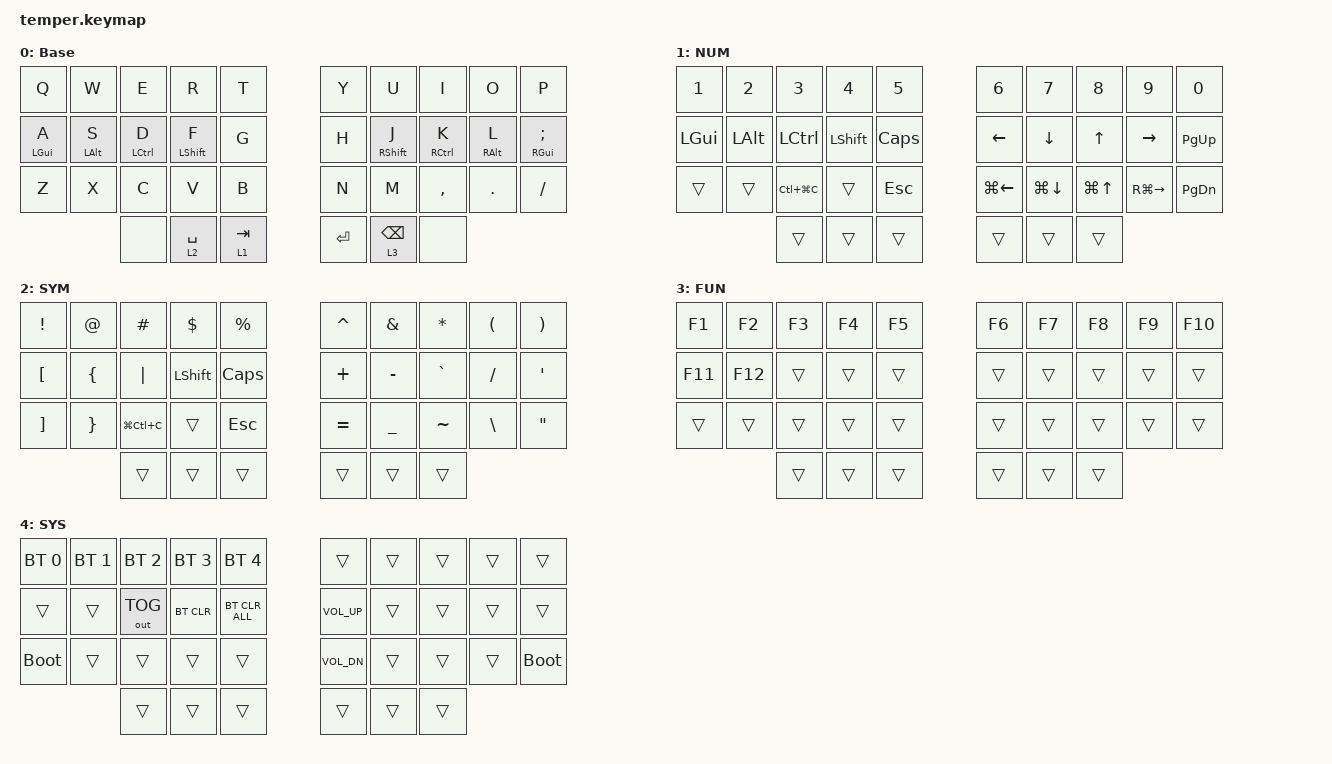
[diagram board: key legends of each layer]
/*
 * Copyright (c) 2020 duckyb
 *
 * SPDX-License-Identifier: MIT
 */

#include <behaviors.dtsi>
#include <dt-bindings/zmk/bt.h>
#include <dt-bindings/zmk/keys.h>
#include <dt-bindings/zmk/outputs.h>

#define Base 0
#define NAV_NUM 1
#define SYM 2
#define FUN 3

&lt {
    flavor = "hold-preferred";
    quick-tap-ms = <180>;
};

/ {
    behaviors {
        hm: hm {
            compatible = "zmk,behavior-hold-tap";
            label = "HM";
            bindings = <&kp>, <&kp>;

            #binding-cells = <2>;
            quick-tap-ms = <170>;
            tapping-term-ms = <190>;
            global-quick-tap;
            flavor = "tap-preferred";
        };

        hml: hml {
            compatible = "zmk,behavior-hold-tap";
            label = "HML";
            bindings = <&kp>, <&kp>;

            #binding-cells = <2>;
            tapping-term-ms = <280>;
            quick-tap-ms = <175>;
            require-prior-idle-ms = <150>;
            flavor = "balanced";
            hold-trigger-on-release;
            hold-trigger-key-positions = <0 1 2 3 4 20 21 22 23 24 14 30 31 32 33 34 35 25 15 5 6 16 26 27 17 7 8 18 28 29 19 9>;
        };

        hmr: hmr {
            compatible = "zmk,behavior-hold-tap";
            label = "HMR";
            bindings = <&kp>, <&kp>;

            #binding-cells = <2>;
            tapping-term-ms = <280>;
            quick-tap-ms = <175>;
            require-prior-idle-ms = <150>;
            flavor = "balanced";
            hold-trigger-on-release;
            hold-trigger-key-positions = <0 10 20 21 1 11 12 2 3 4 24 14 13 23 22 30 31 32 33 34 35 25 26 28 27 29 9 8 7 6 5 15>;
        };
    };

    combos {
        compatible = "zmk,combos";

        bac {
            bindings = <&kp BACKSLASH>;
            key-positions = <3 14>;
        };

        pipe {
            bindings = <&kp PIPE>;
            key-positions = <15 5>;
            timeout-ms = <30>;
        };

        esc {
            bindings = <&kp ESC>;
            key-positions = <11 12>;
            timeout-ms = <30>;
        };

        enter {
            bindings = <&kp ENTER>;
            key-positions = <16 17>;
            timeout-ms = <30>;
        };

        tab {
            bindings = <&kp TAB>;
            key-positions = <12 13>;
            timeout-ms = <30>;
        };

        back {
            bindings = <&kp BACKSPACE>;
            key-positions = <17 18>;
            timeout-ms = <30>;
        };

        slash {
            bindings = <&kp SLASH>;
            key-positions = <15 6>;
        };
    };

    keymap {
        compatible = "zmk,keymap";

        base {
            display-name = "Base";
            bindings = <
  &kp Q            &kp W            &kp E         &kp R              &kp T        &kp Y      &kp U               &kp I         &kp O             &kp P
  &hml LEFT_GUI A  &hml LEFT_ALT S  &hml LCTRL D  &hml LEFT_SHIFT F  &kp G        &kp H      &hmr RIGHT_SHIFT J  &hmr RCTRL K  &hmr RIGHT_ALT L  &hmr RIGHT_GUI SEMICOLON
  &kp Z            &kp X            &kp C         &kp V              &kp B        &kp N      &kp M               &kp COMMA     &kp DOT           &kp FSLH
                                    &none         &lt 2 SPACE        &lt 1 TAB    &kp ENTER  &lt 3 BACKSPACE     &none
            >;
        };

        num {
            display-name = "NUM";
            bindings = <
  &kp N1        &kp N2        &kp N3         &kp N4          &kp N5          &kp N6              &kp N7        &kp N8            &kp N9         &kp N0
  &kp LEFT_GUI  &kp LEFT_ALT  &kp LCTRL      &kp LEFT_SHIFT  &kp CAPSLOCK    &kp LEFT            &kp DOWN      &kp UP            &kp RIGHT      &kp PAGE_UP
  &trans        &trans        &kp LC(LG(C))  &trans          &kp ESC         &kp LG(LEFT_ARROW)  &kp LG(DOWN)  &kp LG(UP_ARROW)  &kp RG(RIGHT)  &kp PAGE_DOWN
                              &trans         &trans          &trans          &trans              &trans        &trans
            >;
        };

        sym {
            display-name = "SYM";
            bindings = <
  &kp EXCLAMATION    &kp AT           &kp HASH       &kp DOLLAR      &kp PERCENT     &kp CARET  &kp AMPERSAND  &kp ASTERISK  &kp LEFT_PARENTHESIS  &kp RIGHT_PARENTHESIS
  &kp LEFT_BRACKET   &kp LEFT_BRACE   &kp PIPE       &kp LEFT_SHIFT  &kp CAPSLOCK    &kp PLUS   &kp MINUS      &kp GRAVE     &kp SLASH             &kp SINGLE_QUOTE
  &kp RIGHT_BRACKET  &kp RIGHT_BRACE  &kp LG(LC(C))  &trans          &kp ESC         &kp EQUAL  &kp UNDER      &kp TILDE     &kp BACKSLASH         &kp DOUBLE_QUOTES
                                      &trans         &trans          &trans          &trans     &trans         &trans
            >;
        };

        fun {
            bindings = <
  &kp F1   &kp F2   &kp F3  &kp F4  &kp F5    &kp F6  &kp F7  &kp F8  &kp F9  &kp F10
  &kp F11  &kp F12  &trans  &trans  &trans    &trans  &trans  &trans  &trans  &trans
  &trans   &trans   &trans  &trans  &trans    &trans  &trans  &trans  &trans  &trans
                    &trans  &trans  &trans    &trans  &trans  &trans
            >;

            label = "FUN";
        };

        sys {
            bindings = <
  &bt BT_SEL 0  &bt BT_SEL 1  &bt BT_SEL 2  &bt BT_SEL 3  &bt BT_SEL 4      &trans           &trans  &trans  &trans  &trans
  &trans        &trans        &out OUT_TOG  &bt BT_CLR    &bt BT_CLR_ALL    &kp C_VOLUME_UP  &trans  &trans  &trans  &trans
  &bootloader   &trans        &trans        &trans        &trans            &kp C_VOL_DN     &trans  &trans  &trans  &bootloader
                              &trans        &trans        &trans            &trans           &trans  &trans
            >;

            display-name = "SYS";
        };
    };

    conditional_layers {
        compatible = "zmk,conditional-layers";

        bt {
            if-layers = <1 2>;
            then-layer = <4>;
        };
    };
};
